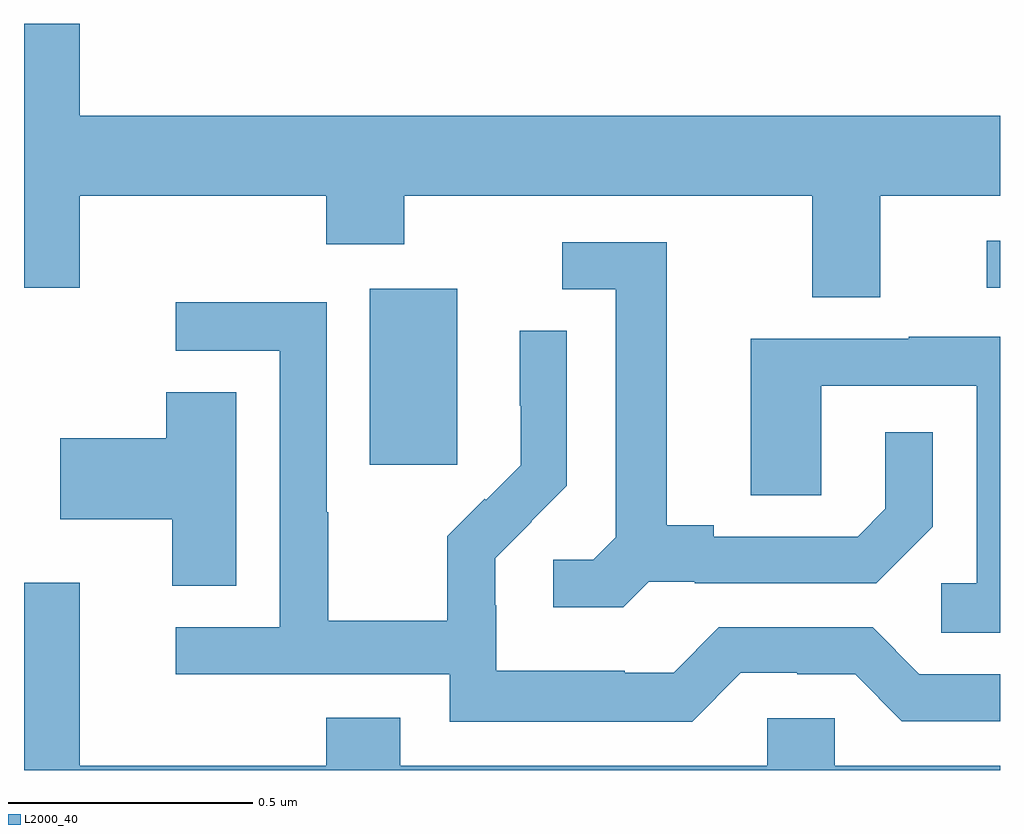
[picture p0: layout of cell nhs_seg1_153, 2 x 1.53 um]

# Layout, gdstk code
import gdstk
lib = gdstk.Library(unit=1e-6, precision=1e-09)
def R(c, l, rs):  # rectangles x0, y0, x1, y1
    for r in rs: c.add(gdstk.rectangle(r[:2], r[2:], *l))
def P(c, l, *ps):  # polygons
    for p in ps: c.add(gdstk.Polygon(p, *l))
L2000_40 = (2000, 40)

nhs_seg1_153 = lib.new_cell('nhs_seg1_153')
R(nhs_seg1_153, L2000_40, [(112.709,573.825,112.888,574.186), (113.973,574.188,114,574.284)])
P(nhs_seg1_153, L2000_40, [(113.755,574.376),(114,574.376),(114,574.54),(112.114,574.54),(112.114,574.729),(112,574.729),(112,574.188),(112.114,574.188),(112.114,574.376),(112.619,574.376),(112.619,574.277),(112.779,574.277),(112.779,574.376),(113.615,574.376),(113.615,574.168),(113.755,574.168)],
  [(113.28,573.585),(113.374,573.585),(113.374,573.582),(113.746,573.582),(113.862,573.698),(113.862,573.892),(113.765,573.892),(113.765,573.735),(113.708,573.678),(113.413,573.678),(113.413,573.701),(113.317,573.701),(113.317,574.281),(113.103,574.281),(113.103,574.185),(113.213,574.185),(113.213,573.677),(113.166,573.63),(113.085,573.63),(113.085,573.533),(113.228,573.533)],
  [(113.469,573.399),(113.585,573.399),(113.585,573.396),(113.703,573.396),(113.799,573.3),(114,573.3),(114,573.396),(113.835,573.396),(113.739,573.492),(113.424,573.492),(113.331,573.399),(113.231,573.399),(113.231,573.403),(112.968,573.403),(112.968,573.537),(112.966,573.537),(112.966,573.634),(113.04,573.708),(113.039,573.709),(113.112,573.782),(113.112,574.1),(113.016,574.1),(113.016,573.946),(113.018,573.946),(113.018,573.824),(112.947,573.753),(112.944,573.756),(112.867,573.679),(112.867,573.505),(112.623,573.505),(112.623,573.728),(112.62,573.728),(112.62,574.158),(112.311,574.158),(112.311,574.059),(112.524,574.059),(112.524,573.492),(112.311,573.492),(112.311,573.396),(112.872,573.396),(112.872,573.299),(113.369,573.299)],
  [(114,574.087),(113.813,574.087),(113.813,574.083),(113.489,574.083),(113.489,573.763),(113.634,573.763),(113.634,573.987),(113.952,573.987),(113.952,573.582),(113.88,573.582),(113.88,573.481),(114,573.481)],
  [(112.435,573.974),(112.292,573.974),(112.292,573.879),(112.074,573.879),(112.074,573.713),(112.304,573.713),(112.304,573.577),(112.435,573.577)],
  [(114,573.208),(113.661,573.208),(113.661,573.306),(113.523,573.306),(113.523,573.208),(112.771,573.208),(112.771,573.307),(112.619,573.307),(112.619,573.208),(112.114,573.208),(112.114,573.583),(112,573.583),(112,573.199),(114,573.199)])

lib.write_gds('nhs_seg1_153.gds')
